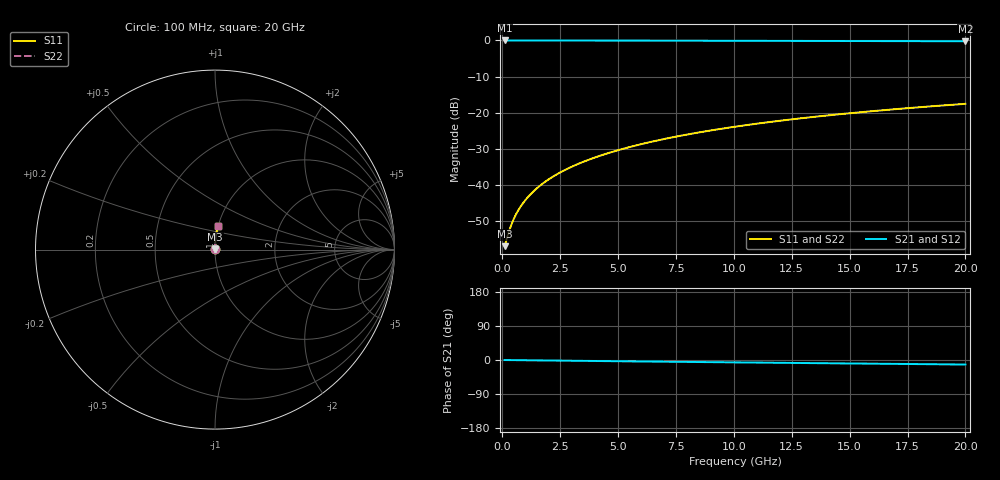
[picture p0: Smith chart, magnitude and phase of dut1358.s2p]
! Touchstone file exported from HFSS 2024.1.0
!  File:  C:/UserFiles/LocalFiles/RDL_TSV_Batchsim/temp_RDL_top_1358_1780366492.aedt
!  Generated:  10:17:00 AM Jun  2, 2026
!  Design:  RDL_top
!  Project:  temp_RDL_top_1358_1780366492
!  Setup:  Setup1
!  Solution:  Sweep
! Variables:
!  dtsv = 10.80580581um
!  hbump = 3um
!  htsv = 63.3um
!  ldown = 100um
!  lrdl = 146.46um
!  p = 40
!  p1 = 40.98um
!  rhole = 1um
!  t = 450um
!  tdown = 3.915915916um
!  trdl = 2.67um
!  wdown = 15.38538539um
!  wrdl = 20.11um
# GHz S MA R 50.000000
! Terminal data exported
! Port[1] = Box2_T1
! Port[2] = Box2_T2
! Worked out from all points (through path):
!   200 points, 100 MHz to 20 GHz, reference 50 ohm
!   highest |S21| = -0.01 dB at 100 MHz (marker M1); lowest = -0.2 dB at 20 GHz (marker M2)
!   group delay of S21, straight-line fit = 1.64 ps
!   lowest |S11| = -56.9 dB at 100 MHz (marker M3), VSWR 1.00, Z = 50.1 + j0.0651 ohm
!   |S11| at or under -10 dB: start of sweep to end of sweep
!   |S22| runs from -56.9 to -17.6 dB; largest |S21 - S12| = 2.3e-15
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0.1  0.001421 27.2  0.9987 -0.1  0.9987 -0.1  0.001421 27.2
! Gamma 0 0 0 0
! Port Impedance 50 0 50 0
0.3  0.002328 55.0  0.9986 -0.2  0.9986 -0.2  0.002328 55.0
0.4  0.002863 61.3  0.9986 -0.3  0.9986 -0.3  0.002863 61.3
0.5  0.003409 65.6  0.9985 -0.3  0.9985 -0.3  0.003409 65.6
0.6  0.003959 68.7  0.9985 -0.4  0.9985 -0.4  0.003959 68.7
0.7  0.004511 71.1  0.9984 -0.5  0.9984 -0.5  0.004511 71.1
0.9  0.005625 74.7  0.9983 -0.6  0.9983 -0.6  0.005625 74.7
1.2  0.007316 78.2  0.9982 -0.8  0.9982 -0.8  0.007316 78.2
1.4  0.008457 79.9  0.9981 -0.9  0.9981 -0.9  0.008457 79.9
1.7  0.01019 81.7  0.9979 -1.1  0.9979 -1.1  0.01019 81.7
2.2  0.01311 83.8  0.9976 -1.5  0.9976 -1.5  0.01311 83.8
2.8  0.01667 85.5  0.9972 -1.9  0.9972 -1.9  0.01667 85.5
3.5  0.02091 86.7  0.9965 -2.3  0.9965 -2.3  0.02091 86.7
4.2  0.02523 87.5  0.9958 -2.8  0.9958 -2.8  0.02523 87.5
5  0.03026 88.1  0.9949 -3.3  0.9949 -3.3  0.03026 88.1
5.9  0.03605 88.4  0.9937 -3.8  0.9937 -3.8  0.03605 88.4
6.8  0.04195 88.6  0.9925 -4.4  0.9925 -4.4  0.04195 88.6
8.4  0.05267 88.4  0.9902 -5.3  0.9902 -5.3  0.05267 88.4
10.1  0.06428 87.8  0.9878 -6.4  0.9878 -6.4  0.06428 87.8
13.4  0.08712 86.0  0.9831 -8.2  0.9831 -8.2  0.08712 86.0
16.7  0.11 84.0  0.9785 -10.1  0.9785 -10.1  0.11 84.0
20  0.1326 81.9  0.974 -11.9  0.974 -11.9  0.1326 81.9
